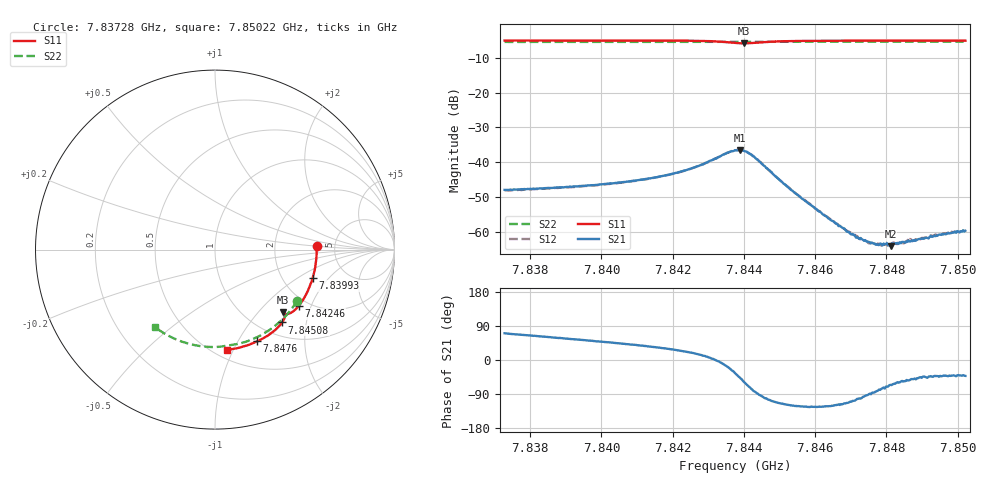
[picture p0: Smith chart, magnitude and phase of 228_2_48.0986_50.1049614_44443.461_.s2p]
#  HZ  S  RI  R  50.00
! Rohde & Schwarz Vector Network Analyzer
! Rohde-Schwarz,ZNB20-2Port,1311601062101988,3.16
! Created: UTC 12/23/2023, 3:57:28 AM
! freq[Hz]  re:S11  im:S11  re:S21  im:S21  re:S12  im:S12  re:S22  im:S22
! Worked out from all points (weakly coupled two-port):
!   401 points, 7.83728 GHz to 7.85022 GHz, reference 50 ohm
!   highest |S21| = -36.51 dB at 7.84388 GHz (marker M1); lowest = -64.2 dB at 7.84811 GHz (marker M2)
!   lowest |S11| = -5.8 dB at 7.84401 GHz (marker M3), VSWR 3.12, Z = 72.6 - j68.8 ohm
!   |S11| at or under -10 dB: nowhere
!   |S22| runs from -5.4 to -5.3 dB; largest |S21 - S12| = 0.00028
!   S11 on the Smith chart (normalised r, x): 7.83728 GHz: 3.60, +0.18; 7.83993 GHz: 2.92, -1.36; 7.84246 GHz: 1.78, -1.64; 7.84508 GHz: 1.25, -1.46; 7.8476 GHz: 0.81, -1.21; 7.85022 GHz: 0.58, -0.95
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7.837282e9  0.5661 0.0173  0.00133 0.00377  0.00141 0.00369  0.4573 -0.2869
7.839449e9  0.5526 -0.1262  0.00274 0.00363  0.00269 0.00359  0.36 -0.403
7.839934e9  0.5446 -0.1578  0.00312 0.00358  0.00312 0.00356  0.3341 -0.425
7.841615e9  0.5 -0.2639  0.0052 0.00334  0.00516 0.00334  0.2344 -0.4878
7.842456e9  0.4659 -0.3142  0.00744 0.00276  0.00735 0.00279  0.1798 -0.5106
7.843264e9  0.4174 -0.3547  0.0117 -0.000561  0.0118 -0.000549  0.125 -0.526
7.843749e9  0.3828 -0.3558  0.0122 -0.00851  0.0123 -0.00824  0.0927 -0.5311
7.843879e9  0.3792 -0.3515  0.0104 -0.0107  0.0104 -0.0107  0.0845 -0.5324
7.844008e9  0.3797 -0.3481  0.00756 -0.0124  0.00765 -0.0123  0.0762 -0.5336
7.844331e9  0.3885 -0.3557  0.000914 -0.0113  0.000997 -0.0114  0.0554 -0.5375
7.845075e9  0.3746 -0.4057  -0.0022 -0.00466  -0.00223 -0.00467  0.00334 -0.5427
7.845916e9  0.3329 -0.45  -0.00129 -0.00195  -0.00125 -0.00198  -0.056 -0.5407
7.846951e9  0.2742 -0.491  -0.000363 -0.000909  -0.00039 -0.000913  -0.1278 -0.5292
7.847306e9  0.2529 -0.5025  -0.00014 -0.00077  -0.000125 -0.000776  -0.1519 -0.5229
7.847597e9  0.2354 -0.5113  4.16e-05 -0.000693  -3.42e-06 -0.000688  -0.1715 -0.517
7.847727e9  0.2274 -0.5148  8.89e-05 -0.000654  6.92e-05 -0.000646  -0.18 -0.5143
7.847985e9  0.2113 -0.5218  0.000224 -0.000626  0.000206 -0.000621  -0.1973 -0.508
7.848082e9  0.2052 -0.5242  0.000256 -0.000594  0.000242 -0.00062  -0.2036 -0.5056
7.848115e9  0.2034 -0.5249  0.000256 -0.000561  0.000262 -0.000656  -0.2056 -0.5047
7.848438e9  0.1831 -0.5326  0.000406 -0.000584  0.000377 -0.000585  -0.2266 -0.4959
7.849311e9  0.1269 -0.5484  0.000607 -0.000593  0.000631 -0.00061  -0.2809 -0.4676
7.850216e9  0.0676 -0.5583  0.000766 -0.000687  0.000781 -0.000672  -0.3336 -0.4325
